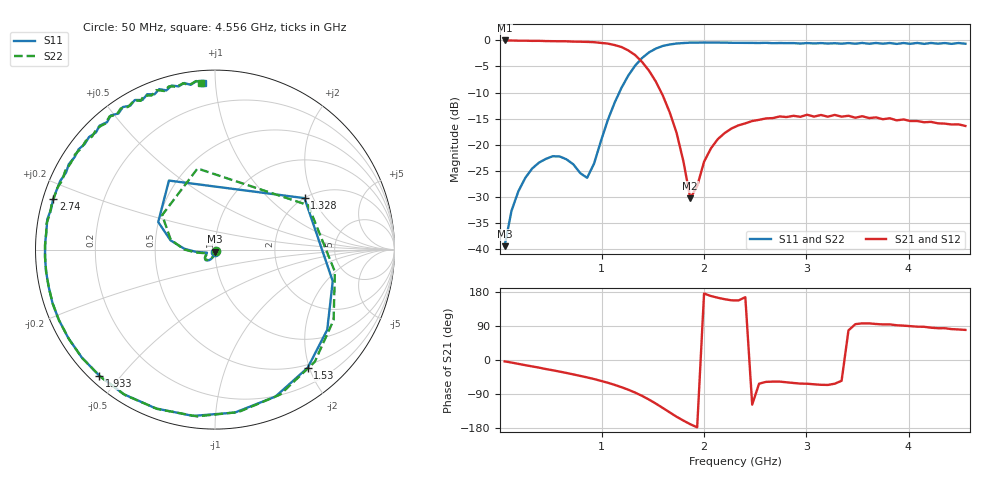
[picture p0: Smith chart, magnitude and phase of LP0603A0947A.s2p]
!	AVX THIN FILM OPERATION
!	LP0603 LOW PASS FILTERS
!	P/N LP0603A0947ALTR
!	Network	Analyzer	HP8720ES.07.64:	Feb	"23,"	2000	Serial	No.	US39172382
!	Hewlett-Packard
!	2	Feb	2004	02:33:11
!	Frequency	S11	S21	S12	S22
#	HZ	S	DB	R	50
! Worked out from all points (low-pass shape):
!   68 points, 50 MHz to 4.556 GHz, reference 50 ohm
!   highest |S21| = 0.00 dB at 50 MHz (marker M1); lowest = -30.3 dB at 1.866 GHz (marker M2)
!   |S21| within 3 dB of the highest: start of sweep to 1.337 GHz
!   lowest |S11| = -39.5 dB at 50 MHz (marker M3), VSWR 1.02, Z = 50 - j1.06 ohm
!   |S11| at or under -10 dB: start of sweep to 1.172 GHz
!   |S22| runs from -39.5 to -0.4 dB; largest |S21 - S12| = 0.019
!   S11 on the Smith chart (normalised r, x): 50 MHz: 1.00, -0.02; 1.328 GHz: 2.01, +1.72; 1.53 GHz: 0.45, -1.97; 1.933 GHz: 0.03, -0.44; 2.74 GHz: 0.03, +0.15; 4.556 GHz: 0.07, +0.93
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5e7  -39.50 -87.5  0.00 -3.6  0.00 -3.7  -39.50 -47.2
1.845e8  -28.96 -102.8  -0.04 -10.2  -0.04 -10.0  -28.96 -106.0
3.8625e8  -23.45 -119.1  -0.07 -20.1  -0.07 -20.2  -23.45 -120.9
8.57e8  -26.38 -159.2  -0.28 -46.0  -0.28 -46.1  -26.38 -156.1
1.126e9  -11.94 168.2  -0.88 -65.6  -0.88 -65.5  -11.94 167.4
1.2605e9  -6.70 123.7  -1.93 -78.5  -1.93 -78.3  -6.70 102.2
1.32775e9  -4.80 29.9  -2.82 -86.2  -2.82 -86.1  -4.80 25.5
1.395e9  -3.36 -15.0  -4.14 -94.8  -4.14 -94.8  -3.36 -10.4
1.5295e9  -1.55 -51.9  -7.92 -115.2  -7.92 -114.5  -1.55 -48.4
1.59675e9  -1.06 -67.7  -10.56 -126.5  -10.56 -126.1  -1.06 -65.7
1.73125e9  -0.59 -97.5  -17.70 -149.7  -17.70 -148.1  -0.59 -96.1
1.86575e9  -0.42 -122.3  -30.29 -169.5  -30.29 -170.0  -0.42 -121.7
1.933e9  -0.41 -132.5  -27.98 -177.7  -27.98 -177.8  -0.41 -131.7
2.0675e9  -0.41 -149.1  -20.72 168.8  -20.72 167.0  -0.41 -148.2
2.3365e9  -0.45 -172.7  -16.30 157.2  -16.30 155.9  -0.45 -172.2
2.471e9  -0.47 178.1  -15.47 -117.8  -15.47 -117.0  -0.47 178.5
2.74e9  -0.49 162.6  -14.59 -57.0  -14.59 -57.2  -0.49 164.3
3.07625e9  -0.57 146.7  -14.62 -64.2  -14.62 -58.3  -0.57 149.1
3.34525e9  -0.62 135.5  -14.63 -54.9  -14.63 -52.7  -0.62 137.3
3.4125e9  -0.51 132.9  -14.46 78.3  -14.46 83.2  -0.51 134.1
3.816e9  -0.49 118.2  -14.93 94.0  -14.93 93.7  -0.49 118.5
4.55575e9  -0.63 94.2  -16.42 79.4  -16.42 74.4  -0.63 94.7
